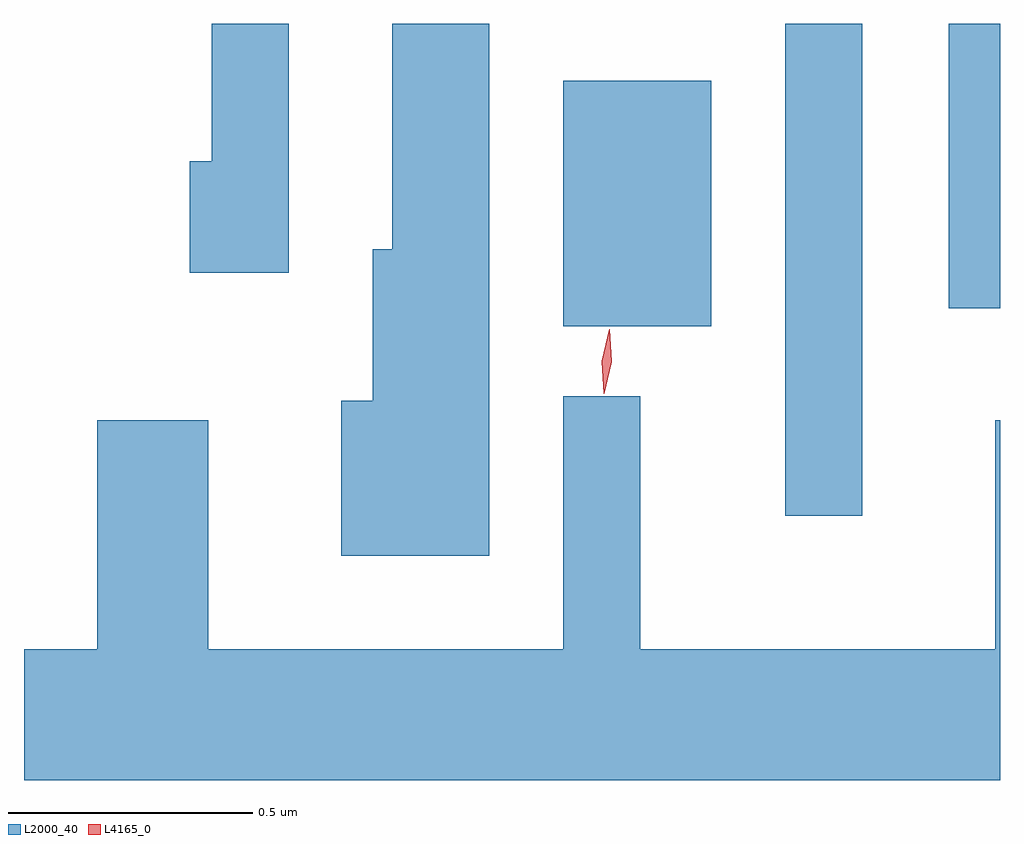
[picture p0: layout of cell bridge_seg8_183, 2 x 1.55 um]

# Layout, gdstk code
import gdstk
lib = gdstk.Library(unit=1e-6, precision=1e-09)
def R(c, l, rs):  # rectangles x0, y0, x1, y1
    for r in rs: c.add(gdstk.rectangle(r[:2], r[2:], *l))
def P(c, l, *ps):  # polygons
    for p in ps: c.add(gdstk.Polygon(p, *l))
L2000_40 = (2000, 40)
L4165_0 = (4165, 0)

bridge_seg8_183 = lib.new_cell('bridge_seg8_183')
R(bridge_seg8_183, L2000_40, [(1083.011,1934.638,1083.169,1935.646), (1082.556,1935.026,1082.859,1935.529), (1083.346,1935.063,1083.451,1935.646)])
P(bridge_seg8_183, L2000_40, [(1081.994,1935.646),(1081.836,1935.646),(1081.836,1935.364),(1081.791,1935.364),(1081.791,1935.136),(1081.994,1935.136)],
  [(1082.404,1935.646),(1082.206,1935.646),(1082.206,1935.184),(1082.166,1935.184),(1082.166,1934.874),(1082.101,1934.874),(1082.101,1934.556),(1082.404,1934.556)],
  [(1083.451,1934.834),(1083.441,1934.834),(1083.441,1934.364),(1082.714,1934.364),(1082.714,1934.883),(1082.556,1934.883),(1082.556,1934.364),(1081.829,1934.364),(1081.829,1934.834),(1081.601,1934.834),(1081.601,1934.364),(1081.451,1934.364),(1081.451,1934.096),(1083.451,1934.096)])
P(bridge_seg8_183, L4165_0, [(1082.639,1934.888),(1082.635,1934.955),(1082.65,1935.02),(1082.65,1935.02),(1082.651,1935.02),(1082.655,1934.953),(1082.64,1934.888),(1082.64,1934.888)])

lib.write_gds('bridge_seg8_183.gds')
